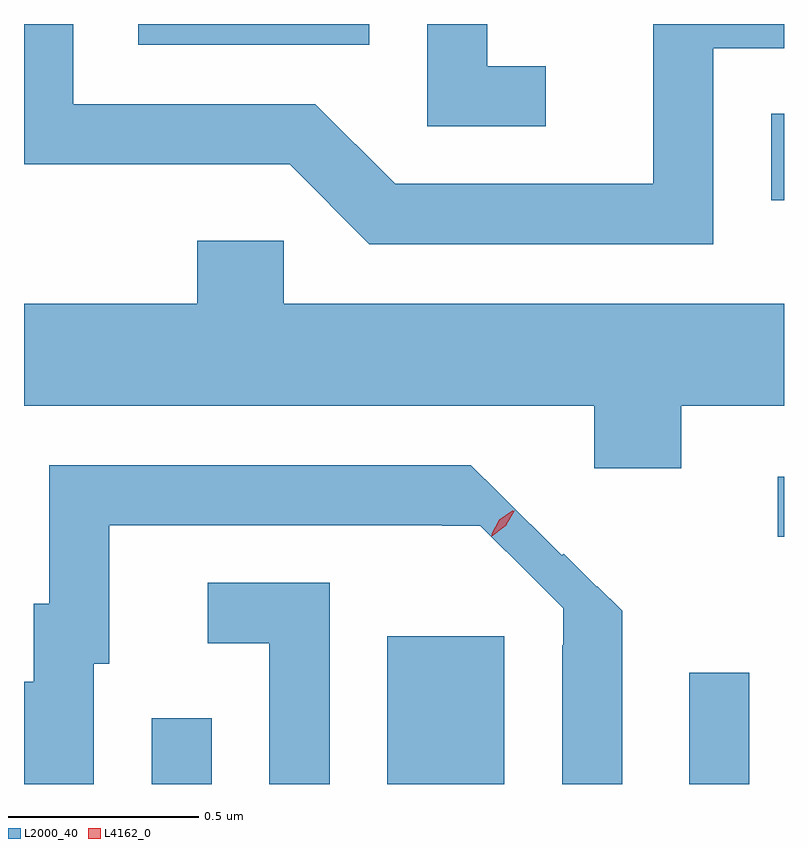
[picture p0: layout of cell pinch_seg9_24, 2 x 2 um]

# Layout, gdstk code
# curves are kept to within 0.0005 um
import gdstk
lib = gdstk.Library(unit=1e-6, precision=1e-09)
def R(c, l, rs):  # rectangles x0, y0, x1, y1
    for r in rs: c.add(gdstk.rectangle(r[:2], r[2:], *l))
def P(c, l, *ps):  # polygons
    for p in ps: c.add(gdstk.Polygon(p, *l))
L2000_40 = (2000, 40)
L4162_0 = (4162, 0)

pinch_seg9_24 = lib.new_cell('pinch_seg9_24')
R(pinch_seg9_24, L2000_40, [(1031.171,2008.58,1031.329,2008.753), (1031.791,2008.58,1032.099,2008.969), (1032.586,2008.58,1032.744,2008.873), (1032.818,2009.231,1032.835,2009.389), (1032.801,2010.116,1032.835,2010.344), (1031.136,2010.526,1031.744,2010.58)])
P(pinch_seg9_24, L2000_40, [(1032.208,2010.469),(1032.054,2010.469),(1032.054,2010.58),(1031.896,2010.58),(1031.896,2010.311),(1032.208,2010.311)],
  [(1032.649,2010.516),(1032.835,2010.516),(1032.835,2010.58),(1032.491,2010.58),(1032.491,2010.159),(1031.812,2010.159),(1031.602,2010.369),(1030.964,2010.369),(1030.964,2010.58),(1030.835,2010.58),(1030.835,2010.211),(1031.534,2010.211),(1031.744,2010.001),(1032.649,2010.001)],
  [(1032.564,2009.576),(1032.835,2009.576),(1032.835,2009.844),(1031.519,2009.844),(1031.519,2010.009),(1031.291,2010.009),(1031.291,2009.844),(1030.835,2009.844),(1030.835,2009.576),(1032.336,2009.576),(1032.336,2009.411),(1032.564,2009.411)],
  [(1031.019,2008.896),(1031.059,2008.896),(1031.059,2009.261),(1031.935,2009.261),(1031.935,2009.259),(1032.036,2009.259),(1032.254,2009.042),(1032.254,2008.945),(1032.251,2008.945),(1032.251,2008.58),(1032.409,2008.58),(1032.409,2009.036),(1032.344,2009.101),(1032.342,2009.099),(1032.255,2009.186),(1032.25,2009.182),(1032.011,2009.419),(1030.901,2009.419),(1030.901,2009.054),(1030.861,2009.054),(1030.861,2008.849),(1030.835,2008.849),(1030.835,2008.58),(1031.019,2008.58)],
  [(1031.639,2009.109),(1031.318,2009.109),(1031.318,2008.951),(1031.481,2008.951),(1031.481,2008.58),(1031.639,2008.58)])
P(pinch_seg9_24, L4162_0, [(1032.064,2009.231),(1032.064,2009.232),(1032.088,2009.273),(1032.126,2009.301),(1032.127,2009.301),(1032.127,2009.3),(1032.103,2009.26),(1032.064,2009.231)],
  [(1032.066,2009.237),(1032.066,2009.238),(1032.086,2009.275),(1032.12,2009.299),(1032.121,2009.299),(1032.121,2009.298),(1032.101,2009.261),(1032.066,2009.237)])

lib.write_gds('pinch_seg9_24.gds')
